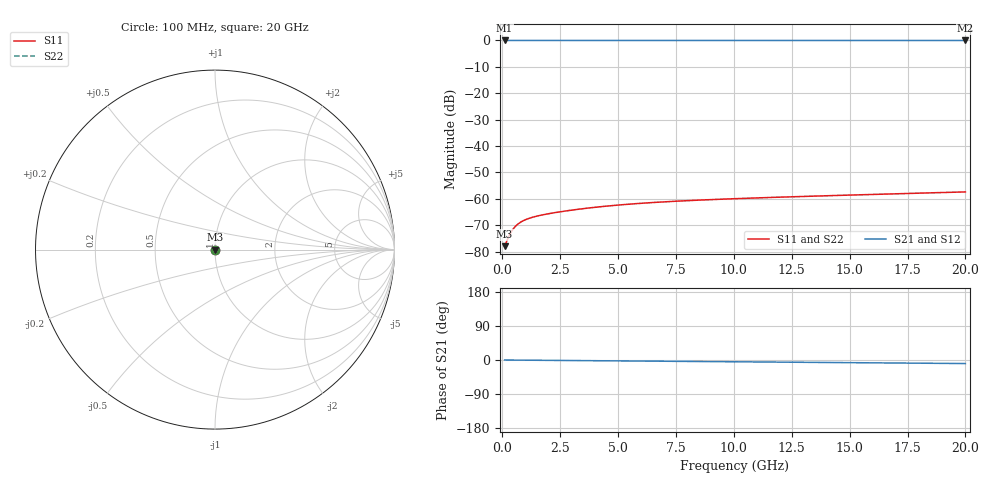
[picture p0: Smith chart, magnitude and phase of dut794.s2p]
! Touchstone file exported from HFSS 2026.1.0
!  File:  C:/ffzhzh/LocalFiles/Ansys_Project_Files/temp_train_TSV_794_1783183920_55132.aedt
!  Generated:  12:53:35 AM Jul  5, 2026
!  Design:  TSV
!  Project:  temp_train_TSV_794_1783183920_55132
! Variables:
!  h_bsmrdl = 2um
!  h_ox = 20um
!  h_rdl = 5um
!  h_sub = 95.3um
!  h_tmrdl = 5um
!  h_tsv = 95.3um
!  h_via = 3um
!  l_bsmrdl = 300um
!  l_sub = 423.06um
!  l_tmrdl = 200um
!  m_sub = 200um
!  pitch = 46.58um
!  r_tsv = 11.53um
!  s_tmrdl = 10um
!  w_bsmrdl = 18um
!  w_sub = 500um
!  w_tmrdl = 12um
!  x_tsv_center1 = 206um
!  x_tsv_center2 = 524um
!  x_tsv_center3 = 736um
!  x_tsv_center4 = 1054um
!  x_tsv_center5 = 1266um
!  x_tsv_center6 = 1584um
# GHz S MA R 50.000000
! Terminal data exported
! Port[1] = TSV1_1_T1
! Port[2] = TSV1_1_T2
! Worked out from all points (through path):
!   200 points, 100 MHz to 20 GHz, reference 50 ohm
!   highest |S21| = 0.00 dB at 100 MHz (marker M1); lowest = 0.0 dB at 20 GHz (marker M2)
!   group delay of S21, straight-line fit = 1.29 ps
!   lowest |S11| = -77.9 dB at 100 MHz (marker M3), VSWR 1.00, Z = 50 + j0.00488 ohm
!   |S11| at or under -10 dB: start of sweep to end of sweep
!   |S22| runs from -77.9 to -57.4 dB; largest |S21 - S12| = 4.5e-15
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0.1  0.0001273 22.5  0.9999 -0.0  0.9999 -0.0  0.0001273 22.5
! Gamma 0 0 0 0
! Port Impedance 50 0 50 0
0.2  0.0001621 35.4  0.9999 -0.1  0.9999 -0.1  0.0001621 35.4
0.3  0.0002032 40.8  0.9998 -0.1  0.9998 -0.1  0.0002032 40.8
0.4  0.0002434 42.5  0.9998 -0.2  0.9998 -0.2  0.0002434 42.5
0.5  0.00028 42.4  0.9998 -0.2  0.9998 -0.2  0.0002801 42.4
0.6  0.0003123 41.6  0.9998 -0.3  0.9998 -0.3  0.0003123 41.6
0.7  0.0003402 40.5  0.9997 -0.3  0.9997 -0.3  0.0003402 40.5
0.8  0.0003644 39.4  0.9997 -0.4  0.9997 -0.4  0.0003644 39.4
0.9  0.0003854 38.3  0.9997 -0.4  0.9997 -0.4  0.0003855 38.3
1.1  0.0004203 36.4  0.9997 -0.5  0.9997 -0.5  0.0004203 36.4
1.3  0.0004486 35.0  0.9996 -0.6  0.9996 -0.6  0.0004486 35.0
1.8  0.0005047 32.9  0.9996 -0.9  0.9996 -0.9  0.0005047 32.9
2.6  0.0005787 31.2  0.9995 -1.2  0.9995 -1.2  0.0005787 31.2
3.5  0.0006541 29.6  0.9994 -1.7  0.9994 -1.7  0.0006541 29.6
4.2  0.000708 28.1  0.9994 -2.0  0.9994 -2.0  0.000708 28.1
5  0.000764 26.2  0.9993 -2.4  0.9993 -2.4  0.000764 26.2
6.8  0.0008694 21.6  0.9992 -3.2  0.9992 -3.2  0.0008695 21.6
8.3  0.0009399 17.8  0.9991 -3.9  0.9991 -3.9  0.00094 17.8
10.1  0.001012 13.5  0.999 -4.7  0.999 -4.7  0.001012 13.5
13.4  0.001127 6.2  0.9989 -6.3  0.9989 -6.3  0.001127 6.2
16.7  0.001239 -1.3  0.9988 -7.8  0.9988 -7.8  0.001239 -1.3
20  0.001355 -9.7  0.9986 -9.3  0.9986 -9.3  0.001355 -9.7
